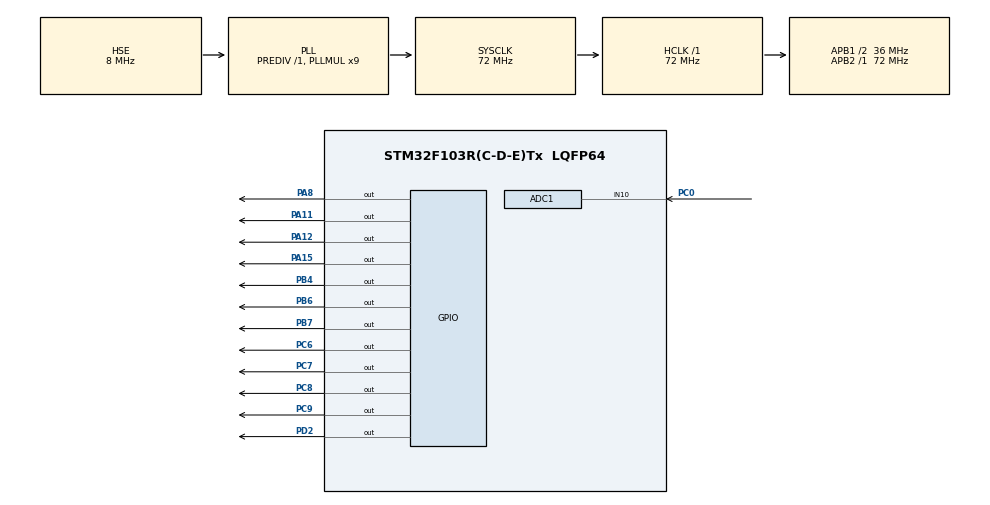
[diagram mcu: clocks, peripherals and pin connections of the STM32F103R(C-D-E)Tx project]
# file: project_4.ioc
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ADC1.Channel-0\#ChannelRegularConversion=ADC_CHANNEL_10
ADC1.ContinuousConvMode=ENABLE
ADC1.NbrOfConversionFlag=1
ADC1.Rank-0\#ChannelRegularConversion=1
ADC1.SamplingTime-0\#ChannelRegularConversion=ADC_SAMPLETIME_1CYCLE_5
ADC1.master=1
Mcu.Family=STM32F1
Mcu.Name=STM32F103R(C-D-E)Tx
Mcu.Package=LQFP64
NVIC.PriorityGroup=NVIC_PRIORITYGROUP_4
PA11.Signal=GPIO_Output
PA12.Signal=GPIO_Output
PA15.Signal=GPIO_Output
PA8.Signal=GPIO_Output
PB4.Signal=GPIO_Output
PB6.Signal=GPIO_Output
PB7.Signal=GPIO_Output
PC0.Signal=ADCx_IN10
PC6.Signal=GPIO_Output
PC7.Signal=GPIO_Output
PC8.Signal=GPIO_Output
PC9.Signal=GPIO_Output
PD0-OSC_IN.Mode=HSE-External-Oscillator
PD0-OSC_IN.Signal=RCC_OSC_IN
PD1-OSC_OUT.Mode=HSE-External-Oscillator
PD1-OSC_OUT.Signal=RCC_OSC_OUT
PD2.Signal=GPIO_Output
ProjectManager.HeapSize=0x200
ProjectManager.StackSize=0x400
ProjectManager.TargetToolchain=MDK-ARM V5
RCC.ADCPresc=RCC_ADCPCLK2_DIV6
RCC.AHBFreq_Value=72000000
RCC.APB1CLKDivider=RCC_HCLK_DIV2
RCC.APB1Freq_Value=36000000
RCC.APB1TimFreq_Value=72000000
RCC.APB2Freq_Value=72000000
RCC.APB2TimFreq_Value=72000000
RCC.HCLKFreq_Value=72000000
RCC.PLLMUL=RCC_PLL_MUL9
RCC.PLLSourceVirtual=RCC_PLLSOURCE_HSE
RCC.SYSCLKFreq_VALUE=72000000
RCC.SYSCLKSource=RCC_SYSCLKSOURCE_PLLCLK
RCC.USBFreq_Value=72000000
SH.ADCx_IN10.0=ADC1_IN10,IN10
VP_SYS_VS_ND.Mode=No_Debug
board=custom

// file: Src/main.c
/* USER CODE BEGIN Header */
/**
  ******************************************************************************
  * @file           : main.c
  * @brief          : Main program body
  ******************************************************************************
  ** This notice applies to any and all portions of this file
  * that are not between comment pairs USER CODE BEGIN and
  * USER CODE END. Other portions of this file, whether
  * inserted by the user or by software development tools
  * are owned by their respective copyright owners.
  *
  * COPYRIGHT(c) 2019 STMicroelectronics
  *
  * Redistribution and use in source and binary forms, with or without modification,
  * are permitted provided that the following conditions are met:
  *   1. Redistributions of source code must retain the above copyright notice,
  *      this list of conditions and the following disclaimer.
  *   2. Redistributions in binary form must reproduce the above copyright notice,
  *      this list of conditions and the following disclaimer in the documentation
  *      and/or other materials provided with the distribution.
  *   3. Neither the name of STMicroelectronics nor the names of its contributors
  *      may be used to endorse or promote products derived from this software
  *      without specific prior written permission.
  *
  * THIS SOFTWARE IS PROVIDED BY THE COPYRIGHT HOLDERS AND CONTRIBUTORS "AS IS"
  * AND ANY EXPRESS OR IMPLIED WARRANTIES, INCLUDING, BUT NOT LIMITED TO, THE
  * IMPLIED WARRANTIES OF MERCHANTABILITY AND FITNESS FOR A PARTICULAR PURPOSE ARE
  * DISCLAIMED. IN NO EVENT SHALL THE COPYRIGHT HOLDER OR CONTRIBUTORS BE LIABLE
  * FOR ANY DIRECT, INDIRECT, INCIDENTAL, SPECIAL, EXEMPLARY, OR CONSEQUENTIAL
  * DAMAGES (INCLUDING, BUT NOT LIMITED TO, PROCUREMENT OF SUBSTITUTE GOODS OR
  * SERVICES; LOSS OF USE, DATA, OR PROFITS; OR BUSINESS INTERRUPTION) HOWEVER
  * CAUSED AND ON ANY THEORY OF LIABILITY, WHETHER IN CONTRACT, STRICT LIABILITY,
  * OR TORT (INCLUDING NEGLIGENCE OR OTHERWISE) ARISING IN ANY WAY OUT OF THE USE
  * OF THIS SOFTWARE, EVEN IF ADVISED OF THE POSSIBILITY OF SUCH DAMAGE.
  *
  ******************************************************************************
  */
/* USER CODE END Header */

#include "main.h"

/* USER CODE BEGIN Includes */
#include "math.h"

/* USER CODE END Includes */

ADC_HandleTypeDef hadc1;

void SystemClock_Config(void);
static void MX_GPIO_Init(void);
static void MX_ADC1_Init(void);
/* USER CODE BEGIN PFP */
int  temp = 0;
uint16_t Tick_ms = 0;
struct GPIO_PACK{
		GPIO_TypeDef * port;
		uint16_t pin;
	};
	struct GPIO_PACK segs[8]= {
	{GPIOA,GPIO_PIN_15},
	{GPIOA,GPIO_PIN_11},
	{GPIOC,GPIO_PIN_9},
	{GPIOC,GPIO_PIN_7},
	{GPIOC,GPIO_PIN_8},
	{GPIOA,GPIO_PIN_12},
	{GPIOA,GPIO_PIN_8},
	{GPIOC,GPIO_PIN_6},
	}	;
	struct GPIO_PACK bits[4]={
	{GPIOD,GPIO_PIN_2},
	{GPIOB,GPIO_PIN_4},
	{GPIOB,GPIO_PIN_6},
	{GPIOB,GPIO_PIN_7},

	};
float array_Temp[] = {
-40,-30,-20,-10,-5,-3,-1,0,
2,4,6,8,10,13,15,18,
20,22,24,25,26,27,28,29,
30,31,32,33,34,35,36,37,38,
39,40,42,45,48,52,60,65,
70,75,80,85,90,95,100,105,

};
float array_Resis[] = {
201,116,70.03,43.35,34.48,31.52,28.85,27.62,
25.32,23.23,21.34,19.63,18.07,15.98,14.47,13.09,
12.11,11.21,10.39,10.00,9.631,9.277,8.938,8.613,
8.302,8.004,7.718,7.444,7.180,6.928,6.683,6.654,6.230,
6.016,5.810,5.423,4.897,4.429,3.883,3.001,2.582,
2.223,1.921,1.667,1.451,1.268,1.112,0.977,0,8262,

};

uint8_t shuzu[]={
	0xc0,0xf9,0xa4,0xb0,0x99,0x92,0x82,
	0xf8,0x80,0x90,0x88,0x83,0xc6,0xa1,0x86,0x8e
};
uint8_t shuzu2[] = {
	0x40,0x79,0x24,0x30,0x19,0x12,0x2,
	0x78,0x0,0x10
};
void delay1ms (unsigned int a){ // 1ms????(12MHz 10??51??????)
	unsigned int i;
	while( a-- != 0){
		for(i = 0; i < 600; i++);
	}
}
void DisplayOnebit(uint8_t digtal,uint8_t bit){
		uint8_t i;
		for(i=0;i<8;i++){
			HAL_GPIO_WritePin(segs[i].port,segs[i].pin,(GPIO_PinState)(shuzu[digtal]&(0x01<<i)));
		}
		for(i=0;i<4;i++){
			HAL_GPIO_WritePin(bits[i].port,bits[i].pin,(GPIO_PinState)(i!=bit));
		}
		delay1ms(5);
}
void DisplayOnebit2(uint8_t digtal,uint8_t bit){
		uint8_t i;
		for(i=0;i<8;i++){
			HAL_GPIO_WritePin(segs[i].port,segs[i].pin,(GPIO_PinState)(shuzu2[digtal]&(0x01<<i)));
		}
		for(i=0;i<4;i++){
			HAL_GPIO_WritePin(bits[i].port,bits[i].pin,(GPIO_PinState)(i!=bit));
		}
		//HAL_Delay(2);
		delay1ms(5);
}

void DisplayDigtal(uint16_t digtal){
	int a=0;

	DisplayOnebit(digtal%10,0);
	HAL_Delay(5);
	if (digtal>=10){
	DisplayOnebit(digtal/10%10,1);
	HAL_Delay(5);
	if (digtal>=100){
	DisplayOnebit2(digtal/100%10,2);
	HAL_Delay(5);
	if (digtal>=1000){
	DisplayOnebit(digtal/1000%10,3);
	HAL_Delay(5);

				}
			}
		}
}

/* USER CODE END PFP */

/* USER CODE BEGIN 0 */
float search_temp(float rsis)
{
int start=0,end=sizeof(array_Temp);
	int j;
while(1)
{
j = (end + start)/2;
if (rsis > array_Resis[j])
{

	end = j-1;
}
else if (rsis == array_Resis[j])
	break;
else
	start = j+1;
if (end - start <0)
	break;
}

 if (start-end ==1)
{
	float R = (array_Temp[start]-array_Temp[end])/(array_Resis[start]-array_Resis[end])*(rsis-array_Resis[end])+array_Temp[end];
	//DisplayDigtal(end);
	return R;
}else
	return array_Temp[j];

}
int ADC1temp(void)
{
	 uint16_t ADC1_Value;
  	 float  Rt;
	int t;
	int ture_temp;
	 HAL_ADC_Start(&hadc1);
   	HAL_ADC_PollForConversion(&hadc1, 50);
 	if(HAL_IS_BIT_SET(HAL_ADC_GetState(&hadc1), HAL_ADC_STATE_REG_EOC))
  	 {
	   ADC1_Value = HAL_ADC_GetValue(&hadc1);
   	 Rt=(10000*ADC1_Value)/ (4096-ADC1_Value); // 热敏电阻值
			 t=(1/(log((Rt/10000))/3380+1/(273.15+25))-273.15)*100;  //t=1/(ln(Rt/R0)/B+1/T0)-273.15
		ture_temp = (int)((search_temp(Rt))*10);
			           //计算出来的温度值
		return t;
 	 }
 }

/* USER CODE END 0 */

int main(void)
{

  /* MCU Configuration--------------------------------------------------------*/

  /* Reset of all peripherals, Initializes the Flash interface and the Systick. */
  HAL_Init();

  /* Configure the system clock */
  SystemClock_Config();

  /* Initialize all configured peripherals */
  MX_GPIO_Init();
  MX_ADC1_Init();
  /* USER CODE BEGIN 2 */
		int abcddd=0;

  /* USER CODE END 2 */

  /* Infinite loop */
  while (1)
  {

    /* USER CODE BEGIN 3 */
		if (Tick_ms==0)
			 abcddd = ADC1temp();
		 DisplayDigtal(abcddd);
//		if(abcddd>=1000)
//			DisplayDigtal(1111);

  }
  /* USER CODE END 3 */
}

void SystemClock_Config(void)
{
  RCC_OscInitTypeDef RCC_OscInitStruct = {0};
  RCC_ClkInitTypeDef RCC_ClkInitStruct = {0};
  RCC_PeriphCLKInitTypeDef PeriphClkInit = {0};

  /**Initializes the CPU, AHB and APB busses clocks
  */
  RCC_OscInitStruct.OscillatorType = RCC_OSCILLATORTYPE_HSE;
  RCC_OscInitStruct.HSEState = RCC_HSE_ON;
  RCC_OscInitStruct.HSEPredivValue = RCC_HSE_PREDIV_DIV1;
  RCC_OscInitStruct.HSIState = RCC_HSI_ON;
  RCC_OscInitStruct.PLL.PLLState = RCC_PLL_ON;
  RCC_OscInitStruct.PLL.PLLSource = RCC_PLLSOURCE_HSE;
  RCC_OscInitStruct.PLL.PLLMUL = RCC_PLL_MUL9;
  if (HAL_RCC_OscConfig(&RCC_OscInitStruct) != HAL_OK)
  {
    Error_Handler();
  }
  /**Initializes the CPU, AHB and APB busses clocks
  */
  RCC_ClkInitStruct.ClockType = RCC_CLOCKTYPE_HCLK|RCC_CLOCKTYPE_SYSCLK
                              |RCC_CLOCKTYPE_PCLK1|RCC_CLOCKTYPE_PCLK2;
  RCC_ClkInitStruct.SYSCLKSource = RCC_SYSCLKSOURCE_PLLCLK;
  RCC_ClkInitStruct.AHBCLKDivider = RCC_SYSCLK_DIV1;
  RCC_ClkInitStruct.APB1CLKDivider = RCC_HCLK_DIV2;
  RCC_ClkInitStruct.APB2CLKDivider = RCC_HCLK_DIV1;

  if (HAL_RCC_ClockConfig(&RCC_ClkInitStruct, FLASH_LATENCY_2) != HAL_OK)
  {
    Error_Handler();
  }
  PeriphClkInit.PeriphClockSelection = RCC_PERIPHCLK_ADC;
  PeriphClkInit.AdcClockSelection = RCC_ADCPCLK2_DIV6;
  if (HAL_RCCEx_PeriphCLKConfig(&PeriphClkInit) != HAL_OK)
  {
    Error_Handler();
  }
}

static void MX_ADC1_Init(void)
{

  ADC_ChannelConfTypeDef sConfig = {0};

  /**Common config
  */
  hadc1.Instance = ADC1;
  hadc1.Init.ScanConvMode = ADC_SCAN_DISABLE;
  hadc1.Init.ContinuousConvMode = ENABLE;
  hadc1.Init.DiscontinuousConvMode = DISABLE;
  hadc1.Init.ExternalTrigConv = ADC_SOFTWARE_START;
  hadc1.Init.DataAlign = ADC_DATAALIGN_RIGHT;
  hadc1.Init.NbrOfConversion = 1;
  if (HAL_ADC_Init(&hadc1) != HAL_OK)
  {
    Error_Handler();
  }
  /**Configure Regular Channel
  */
  sConfig.Channel = ADC_CHANNEL_10;
  sConfig.Rank = ADC_REGULAR_RANK_1;
  sConfig.SamplingTime = ADC_SAMPLETIME_1CYCLE_5;
  if (HAL_ADC_ConfigChannel(&hadc1, &sConfig) != HAL_OK)
  {
    Error_Handler();
  }

}

static void MX_GPIO_Init(void)
{
  GPIO_InitTypeDef GPIO_InitStruct = {0};

  /* GPIO Ports Clock Enable */
  __HAL_RCC_GPIOD_CLK_ENABLE();
  __HAL_RCC_GPIOC_CLK_ENABLE();
  __HAL_RCC_GPIOA_CLK_ENABLE();
  __HAL_RCC_GPIOB_CLK_ENABLE();

  /*Configure GPIO pin Output Level */
  HAL_GPIO_WritePin(GPIOC, GPIO_PIN_6|GPIO_PIN_7|GPIO_PIN_8|GPIO_PIN_9, GPIO_PIN_RESET);

  /*Configure GPIO pin Output Level */
  HAL_GPIO_WritePin(GPIOA, GPIO_PIN_8|GPIO_PIN_11|GPIO_PIN_12|GPIO_PIN_15, GPIO_PIN_RESET);

  /*Configure GPIO pin Output Level */
  HAL_GPIO_WritePin(GPIOD, GPIO_PIN_2, GPIO_PIN_RESET);

  /*Configure GPIO pin Output Level */
  HAL_GPIO_WritePin(GPIOB, GPIO_PIN_4|GPIO_PIN_6|GPIO_PIN_7, GPIO_PIN_RESET);

  /*Configure GPIO pins : PC6 PC7 PC8 PC9 */
  GPIO_InitStruct.Pin = GPIO_PIN_6|GPIO_PIN_7|GPIO_PIN_8|GPIO_PIN_9;
  GPIO_InitStruct.Mode = GPIO_MODE_OUTPUT_PP;
  GPIO_InitStruct.Pull = GPIO_NOPULL;
  GPIO_InitStruct.Speed = GPIO_SPEED_FREQ_LOW;
  HAL_GPIO_Init(GPIOC, &GPIO_InitStruct);

  /*Configure GPIO pins : PA8 PA11 PA12 PA15 */
  GPIO_InitStruct.Pin = GPIO_PIN_8|GPIO_PIN_11|GPIO_PIN_12|GPIO_PIN_15;
  GPIO_InitStruct.Mode = GPIO_MODE_OUTPUT_PP;
  GPIO_InitStruct.Pull = GPIO_NOPULL;
  GPIO_InitStruct.Speed = GPIO_SPEED_FREQ_LOW;
  HAL_GPIO_Init(GPIOA, &GPIO_InitStruct);

  /*Configure GPIO pin : PD2 */
  GPIO_InitStruct.Pin = GPIO_PIN_2;
  GPIO_InitStruct.Mode = GPIO_MODE_OUTPUT_PP;
  GPIO_InitStruct.Pull = GPIO_NOPULL;
  GPIO_InitStruct.Speed = GPIO_SPEED_FREQ_LOW;
  HAL_GPIO_Init(GPIOD, &GPIO_InitStruct);

  /*Configure GPIO pins : PB4 PB6 PB7 */
  GPIO_InitStruct.Pin = GPIO_PIN_4|GPIO_PIN_6|GPIO_PIN_7;
  GPIO_InitStruct.Mode = GPIO_MODE_OUTPUT_PP;
  GPIO_InitStruct.Pull = GPIO_NOPULL;
  GPIO_InitStruct.Speed = GPIO_SPEED_FREQ_LOW;
  HAL_GPIO_Init(GPIOB, &GPIO_InitStruct);

}

/* USER CODE BEGIN 4 */
void HAL_SYSTICK_Callback(void)
{
//	if(Tick_ms == 0)
//		ADC1temp();
	Tick_ms++;
	if (Tick_ms == 3000)// 30s 调用一次获取一次温度值
		Tick_ms =0 ;

}
/* USER CODE END 4 */

void Error_Handler(void)
{
}

/************************ (C) COPYRIGHT STMicroelectronics *****END OF FILE****/
